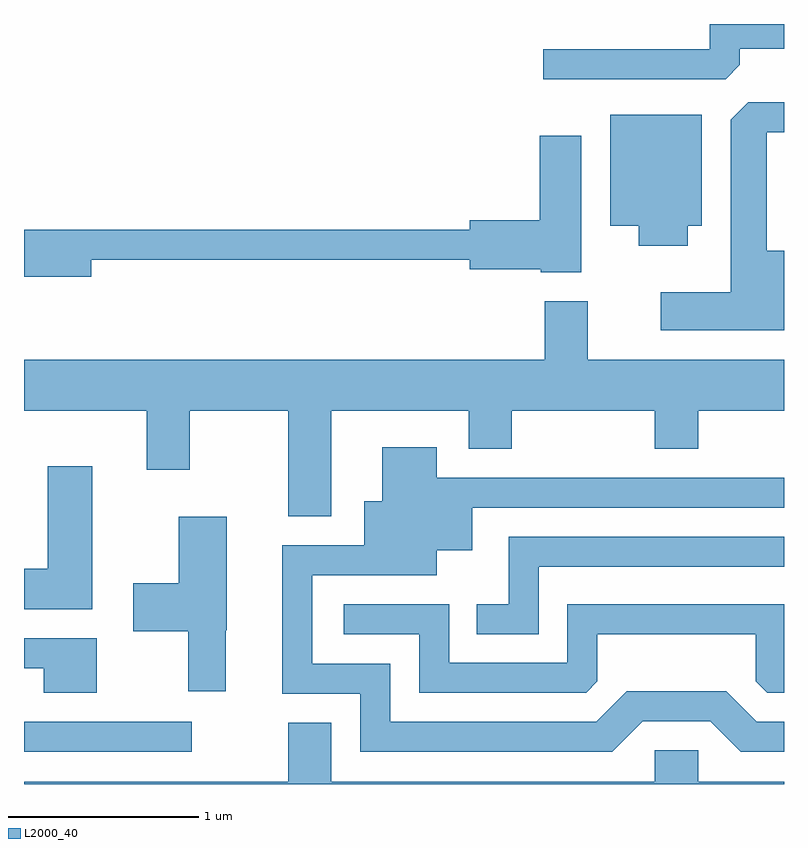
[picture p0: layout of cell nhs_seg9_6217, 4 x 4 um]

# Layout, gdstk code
import gdstk
lib = gdstk.Library(unit=1e-6, precision=1e-09)
def R(c, l, rs):  # rectangles x0, y0, x1, y1
    for r in rs: c.add(gdstk.rectangle(r[:2], r[2:], *l))
def P(c, l, *ps):  # polygons
    for p in ps: c.add(gdstk.Polygon(p, *l))
L2000_40 = (2000, 40)

nhs_seg9_6217 = lib.new_cell('nhs_seg9_6217')
R(nhs_seg9_6217, L2000_40, [(367.611,2076.601,368.493,2076.759)])
P(nhs_seg9_6217, L2000_40, [(371.379,2080.217),(371.379,2080.301),(371.611,2080.301),(371.611,2080.432),(371.221,2080.432),(371.221,2080.299),(370.343,2080.299),(370.343,2080.141),(371.304,2080.141)],
  [(371.611,2079.239),(371.519,2079.239),(371.519,2079.861),(371.611,2079.861),(371.611,2080.019),(371.422,2080.019),(371.331,2079.929),(371.331,2079.019),(370.961,2079.019),(370.961,2078.821),(371.611,2078.821)],
  [(371.104,2079.371),(371.179,2079.371),(371.179,2079.954),(370.696,2079.954),(370.696,2079.371),(370.846,2079.371),(370.846,2079.266),(371.104,2079.266)],
  [(367.964,2079.191),(369.956,2079.191),(369.956,2079.141),(370.33,2079.141),(370.33,2079.126),(370.544,2079.126),(370.544,2079.844),(370.326,2079.844),(370.326,2079.399),(369.956,2079.399),(369.956,2079.349),(367.611,2079.349),(367.611,2079.101),(367.964,2079.101)],
  [(370.579,2078.974),(370.351,2078.974),(370.351,2078.664),(367.611,2078.664),(367.611,2078.396),(368.256,2078.396),(368.256,2078.086),(368.484,2078.086),(368.484,2078.396),(369.001,2078.396),(369.001,2077.841),(369.229,2077.841),(369.229,2078.396),(369.951,2078.396),(369.951,2078.196),(370.179,2078.196),(370.179,2078.396),(370.931,2078.396),(370.931,2078.196),(371.159,2078.196),(371.159,2078.396),(371.611,2078.396),(371.611,2078.664),(370.579,2078.664)],
  [(370.867,2076.761),(371.224,2076.761),(371.384,2076.601),(371.611,2076.601),(371.611,2076.759),(371.467,2076.759),(371.307,2076.919),(370.784,2076.919),(370.624,2076.759),(369.539,2076.759),(369.539,2077.064),(369.129,2077.064),(369.129,2077.531),(369.784,2077.531),(369.784,2077.661),(369.969,2077.661),(369.969,2077.886),(371.611,2077.886),(371.611,2078.044),(369.784,2078.044),(369.784,2078.204),(369.496,2078.204),(369.496,2077.919),(369.401,2077.919),(369.401,2077.689),(368.971,2077.689),(368.971,2076.906),(369.381,2076.906),(369.381,2076.601),(370.707,2076.601)],
  [(367.969,2078.104),(367.736,2078.104),(367.736,2077.564),(367.611,2077.564),(367.611,2077.351),(367.969,2077.351)],
  [(368.674,2077.24),(368.679,2077.24),(368.679,2077.839),(368.426,2077.839),(368.426,2077.489),(368.186,2077.489),(368.186,2077.236),(368.476,2077.236),(368.476,2076.921),(368.674,2076.921)],
  [(370.319,2077.576),(371.611,2077.576),(371.611,2077.734),(370.161,2077.734),(370.161,2077.379),(369.993,2077.379),(369.993,2077.221),(370.319,2077.221)],
  [(370.629,2076.972),(370.629,2077.221),(371.461,2077.221),(371.461,2076.972),(371.522,2076.911),(371.611,2076.911),(371.611,2077.379),(370.471,2077.379),(370.471,2077.069),(369.849,2077.069),(369.849,2077.379),(369.293,2077.379),(369.293,2077.221),(369.691,2077.221),(369.691,2076.911),(370.569,2076.911)],
  [(367.994,2077.199),(367.611,2077.199),(367.611,2077.041),(367.716,2077.041),(367.716,2076.911),(367.994,2076.911)],
  [(371.611,2076.444),(371.159,2076.444),(371.159,2076.609),(370.931,2076.609),(370.931,2076.444),(369.229,2076.444),(369.229,2076.754),(369.001,2076.754),(369.001,2076.444),(367.611,2076.444),(367.611,2076.432),(371.611,2076.432)])

lib.write_gds('nhs_seg9_6217.gds')
